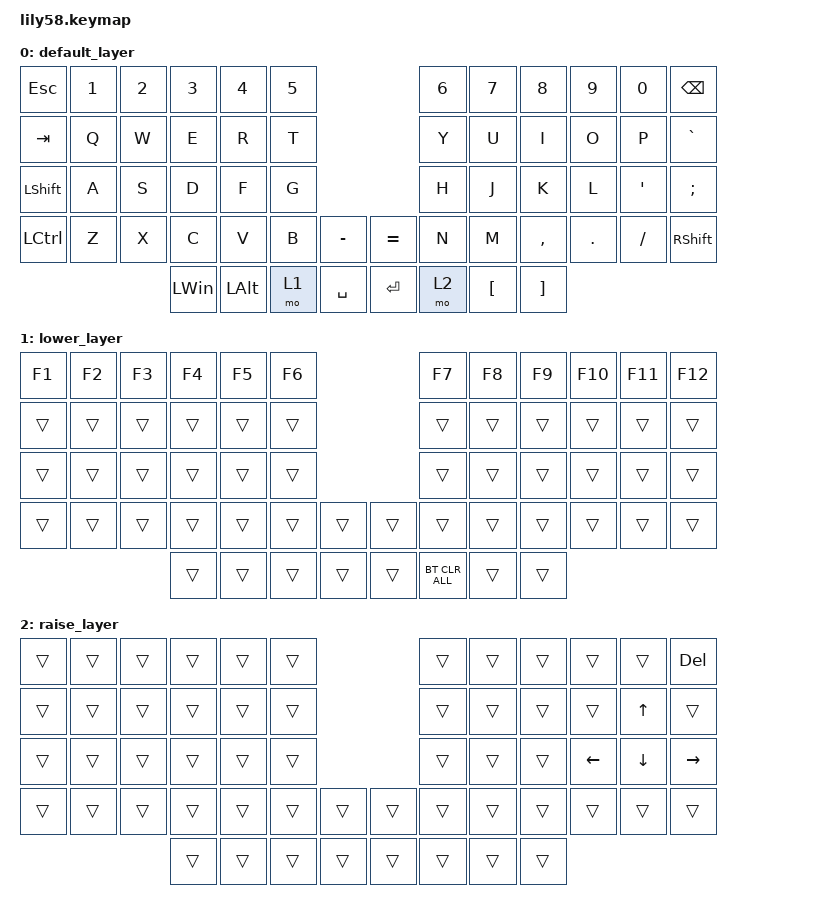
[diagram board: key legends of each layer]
/*
 * Copyright (c) 2020 The ZMK Contributors
 *
 * SPDX-License-Identifier: MIT
 */

#include <behaviors.dtsi>
#include <dt-bindings/zmk/bt.h>
#include <dt-bindings/zmk/keys.h>

/ {
    keymap {
        compatible = "zmk,keymap";

        default_layer {
            // ------------------------------------------------------------------------------------------------------------
            // |  ESC  |  1  |  2  |  3   |  4   |  5   |                   |  6   |  7    |  8    |  9   |   0   |   `   |
            // |  TAB  |  Q  |  W  |  E   |  R   |  T   |                   |  Y   |  U    |  I    |  O   |   P   |   -   |
            // |  CTRL |  A  |  S  |  D   |  F   |  G   |                   |  H   |  J    |  K    |  L   |   ;   |   '   |
            // | SHIFT |  Z  |  X  |  C   |  V   |  B   |   "["  |  |  "]"  |  N   |  M    |  ,    |  .   |   /   | SHIFT |
            //                     | ALT  | GUI  | LOWER|  SPACE |  | ENTER | RAISE| BSPC  | GUI   |

            bindings = <
&kp ESC    &kp N1  &kp N2  &kp N3    &kp N4        &kp N5                          &kp N6  &kp N7            &kp N8             &kp N9      &kp N0    &kp BACKSPACE
&kp TAB    &kp Q   &kp W   &kp E     &kp R         &kp T                           &kp Y   &kp U             &kp I              &kp O       &kp P     &kp GRAVE
&kp LSHFT  &kp A   &kp S   &kp D     &kp F         &kp G                           &kp H   &kp J             &kp K              &kp L       &kp SQT   &kp SEMICOLON
&kp LCTRL  &kp Z   &kp X   &kp C     &kp V         &kp B   &kp MINUS    &kp EQUAL  &kp N   &kp M             &kp COMMA          &kp PERIOD  &kp FSLH  &kp RSHFT
                           &kp LWIN  &kp LEFT_ALT  &mo 1   &kp SPACE    &kp RET    &mo 2   &kp LEFT_BRACKET  &kp RIGHT_BRACKET
            >;
        };

        lower_layer {
            // ------------------------------------------------------------------------------------------------------------
            // | BTCLR | BT1 | BT2 |  BT3 |  BT4 |  BT5 |                   |      |       |       |      |       |       |
            // |  F1   |  F2 |  F3 |  F4  |  F5  |  F6  |                   |  F7  |  F8   |  F9   |  F10 |  F11  |  F12  |
            // |   `   |  !  |  @  |  #   |  $   |  %   |                   |  ^   |  &    |  *    |  (   |   )   |   ~   |
            // |       |     |     |      |      |      |        |  |       |      |  _    |  +    |  {   |   }   |  "|"  |
            //                     |      |      |      |        |  |       |      |       |       |

            bindings = <
&kp F1  &kp F2  &kp F3  &kp F4  &kp F5  &kp F6                    &kp F7          &kp F8  &kp F9  &kp F10  &kp F11  &kp F12
&trans  &trans  &trans  &trans  &trans  &trans                    &trans          &trans  &trans  &trans   &trans   &trans
&trans  &trans  &trans  &trans  &trans  &trans                    &trans          &trans  &trans  &trans   &trans   &trans
&trans  &trans  &trans  &trans  &trans  &trans  &trans    &trans  &trans          &trans  &trans  &trans   &trans   &trans
                        &trans  &trans  &trans  &trans    &trans  &bt BT_CLR_ALL  &trans  &trans
            >;
        };

        raise_layer {
            // ------------------------------------------------------------------------------------------------------------
            // |       |     |     |      |      |      |                   |      |       |       |      |       |       |
            // |   `   |  1  |  2  |  3   |  4   |  5   |                   |  6   |   7   |   8   |  9   |   0   |       |
            // |   F1  |  F2 |  F3 |  F4  |  F5  |  F6  |                   |      |   <-  |   v   |  ^   |  ->   |       |
            // |   F7  |  F8 |  F9 |  F10 |  F11 |  F12 |        |  |       |  +   |   -   |   =   |  [   |   ]   |   \   |
            //                     |      |      |      |        |  |       |      |       |       |

            bindings = <
&trans  &trans  &trans  &trans  &trans  &trans                    &trans  &trans  &trans  &trans    &trans    &kp DELETE
&trans  &trans  &trans  &trans  &trans  &trans                    &trans  &trans  &trans  &trans    &kp UP    &trans
&trans  &trans  &trans  &trans  &trans  &trans                    &trans  &trans  &trans  &kp LEFT  &kp DOWN  &kp RIGHT
&trans  &trans  &trans  &trans  &trans  &trans  &trans    &trans  &trans  &trans  &trans  &trans    &trans    &trans
                        &trans  &trans  &trans  &trans    &trans  &trans  &trans  &trans
            >;
        };
    };
};
